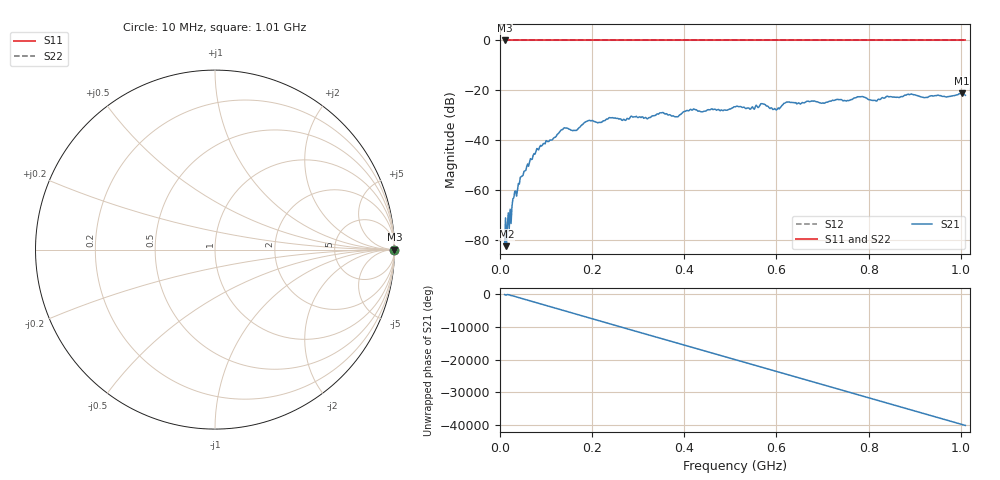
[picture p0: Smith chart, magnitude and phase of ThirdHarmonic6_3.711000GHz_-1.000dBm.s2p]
! 8/17/2025 12:38:15 PM
! C:\ANRITSUVNA\TEMP\TEMP.S2P
! CHANNEL.1
! TR.MEASUREMENT
! RAW.DATA
! RF.CORRECTION.OFF
! AVERAGING.OFF
! IF.BANDWIDTH: 5KHZ
! SWEEPTYPE:  FREQ.SWEEP(Linear)
! Reference Plane Port Info
! PORT:  PORT1  PORT2
! DISTANCE:  0  m  0  m
! TIME:  0  s  0  s
! PHASE.OFFSET:  0  deg.  0  deg.
! LOSS:  0  dB  0  dB
! REF.LOSS:  0  dB  0  dB
! REF.FREQ:  0  Hz  0  Hz
! Power Info
! POWER:  -20  dBm  -20  dBm
! EFF.POWER:  -20  dBm  -20  dBm
! SOURCE.ATTEN:  0  dB  0  dB
! TEST.ATTEN:  0  dB  0  dB
# GHZ S RI R 50.0
! FREQ.GHZ  S11RE  S11IM  S21RE  S21IM  S12RE  S12IM  S22RE  S22IM
!; PortSelection: Port_12
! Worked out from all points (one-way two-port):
!   501 points, 10 MHz to 1.01 GHz, reference 50 ohm
!   highest |S21| = -21.24 dB at 1.002 GHz (marker M1); lowest = -82.4 dB at 14 MHz (marker M2)
!   lowest |S11| = 0.0 dB at 10 MHz (marker M3)
!   |S11| at or under -10 dB: nowhere
!   |S22| runs from 0.0 to 0.0 dB; largest |S21 - S12| = 1.1
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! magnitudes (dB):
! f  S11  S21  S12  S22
! 10 MHz  0.0  -81.8  0.0  0.0
! 14 MHz  0.0  -82.4  0.0  0.0
! 24 MHz  0.0  -73.3  0.0  0.0
! 30 MHz  0.0  -63.0  0.0  0.0
! 44 MHz  0.0  -54.9  0.0  0.0
! 76 MHz  0.0  -45.5  0.0  0.0
! 136 MHz  0.0  -35.7  0.0  0.0
! 162 MHz  0.0  -36.1  0.0  0.0
! 178 MHz  0.0  -33.8  0.0  0.0
! 344 MHz  0.0  -29.5  0.0  0.0
! 382 MHz  0.0  -30.5  0.0  0.0
! 416 MHz  0.0  -27.9  0.0  0.0
! 510 MHz  0.0  -26.6  0.0  0.0
! 548 MHz  0.0  -26.6  0.0  0.0
! 570 MHz  0.0  -25.4  0.0  0.0
! 596 MHz  0.0  -27.3  0.0  0.0
! 624 MHz  0.0  -24.7  0.0  0.0
! 678 MHz  0.0  -24.3  0.0  0.0
! 814 MHz  0.0  -24.0  0.0  0.0
! 844 MHz  0.0  -22.6  0.0  0.0
! 1.002 GHz  0.0  -21.2  0.0  0.0
! 1.01 GHz  0.0  -22.0  0.0  0.0
